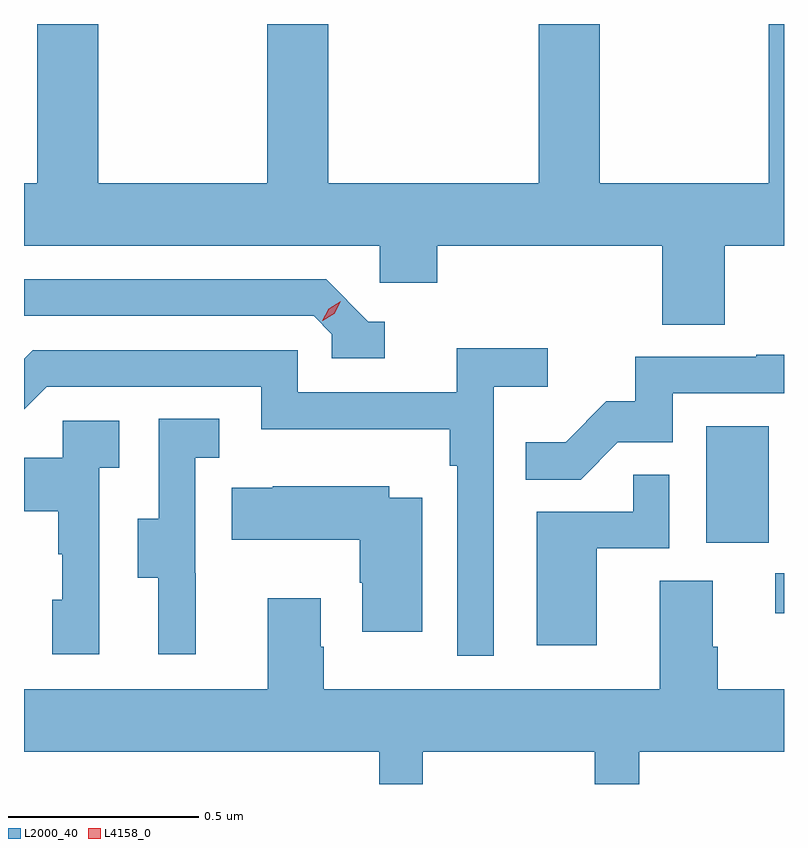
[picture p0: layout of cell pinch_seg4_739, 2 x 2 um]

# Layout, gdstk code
import gdstk
lib = gdstk.Library(unit=1e-6, precision=1e-09)
def R(c, l, rs):  # rectangles x0, y0, x1, y1
    for r in rs: c.add(gdstk.rectangle(r[:2], r[2:], *l))
def P(c, l, *ps):  # polygons
    for p in ps: c.add(gdstk.Polygon(p, *l))
L2000_40 = (2000, 40)
L4158_0 = (4158, 0)

pinch_seg4_739 = lib.new_cell('pinch_seg4_739')
R(pinch_seg4_739, L2000_40, [(835.761,811.836,835.784,811.941), (835.58,812.022,835.744,812.329)])
P(pinch_seg4_739, L2000_40, [(833.819,813.387),(833.819,812.968),(833.784,812.968),(833.784,812.804),(834.72,812.804),(834.72,812.706),(834.872,812.706),(834.872,812.804),(835.463,812.804),(835.463,812.596),(835.628,812.596),(835.628,812.804),(835.784,812.804),(835.784,813.387),(835.744,813.387),(835.744,812.968),(835.299,812.968),(835.299,813.387),(835.139,813.387),(835.139,812.968),(834.584,812.968),(834.584,813.387),(834.424,813.387),(834.424,812.968),(833.979,812.968),(833.979,813.387)],
  [(834.733,812.604),(834.69,812.604),(834.579,812.715),(833.784,812.715),(833.784,812.619),(834.546,812.619),(834.594,812.571),(834.594,812.508),(834.733,812.508)],
  [(835.02,812.432),(835.162,812.432),(835.162,812.534),(834.923,812.534),(834.923,812.418),(834.504,812.418),(834.504,812.529),(833.807,812.529),(833.784,812.506),(833.784,812.373),(833.844,812.433),(834.408,812.433),(834.408,812.321),(834.904,812.321),(834.904,812.225),(834.924,812.225),(834.924,811.725),(835.02,811.725)],
  [(835.347,812.286),(835.491,812.286),(835.491,812.415),(835.784,812.415),(835.784,812.516),(835.711,812.516),(835.711,812.511),(835.393,812.511),(835.393,812.394),(835.316,812.394),(835.209,812.287),(835.105,812.287),(835.105,812.188),(835.249,812.188)],
  [(834.236,811.941),(834.234,811.941),(834.234,812.245),(834.298,812.245),(834.298,812.348),(834.138,812.348),(834.138,812.085),(834.083,812.085),(834.083,811.93),(834.137,811.93),(834.137,811.728),(834.236,811.728)],
  [(833.982,812.219),(834.034,812.219),(834.034,812.343),(833.886,812.343),(833.886,812.245),(833.784,812.245),(833.784,812.105),(833.874,812.105),(833.874,811.991),(833.884,811.991),(833.884,811.872),(833.858,811.872),(833.858,811.728),(833.982,811.728)],
  [(835.291,812.007),(835.482,812.007),(835.482,812.201),(835.387,812.201),(835.387,812.103),(835.133,812.103),(835.133,811.752),(835.291,811.752)],
  [(834.832,812.14),(834.745,812.14),(834.745,812.17),(834.439,812.17),(834.439,812.167),(834.331,812.167),(834.331,812.03),(834.667,812.03),(834.667,811.917),(834.674,811.917),(834.674,811.788),(834.832,811.788)],
  [(834.833,811.472),(835.286,811.472),(835.286,811.387),(835.403,811.387),(835.403,811.472),(835.784,811.472),(835.784,811.636),(835.61,811.636),(835.61,811.748),(835.597,811.748),(835.597,811.922),(835.457,811.922),(835.457,811.636),(834.573,811.636),(834.573,811.748),(834.565,811.748),(834.565,811.876),(834.425,811.876),(834.425,811.636),(833.784,811.636),(833.784,811.472),(834.719,811.472),(834.719,811.387),(834.833,811.387)])
P(pinch_seg4_739, L4158_0, [(834.569,812.606),(834.569,812.606),(834.586,812.638),(834.617,812.657),(834.617,812.657),(834.617,812.657),(834.6,812.625),(834.57,812.606)])

lib.write_gds('pinch_seg4_739.gds')
